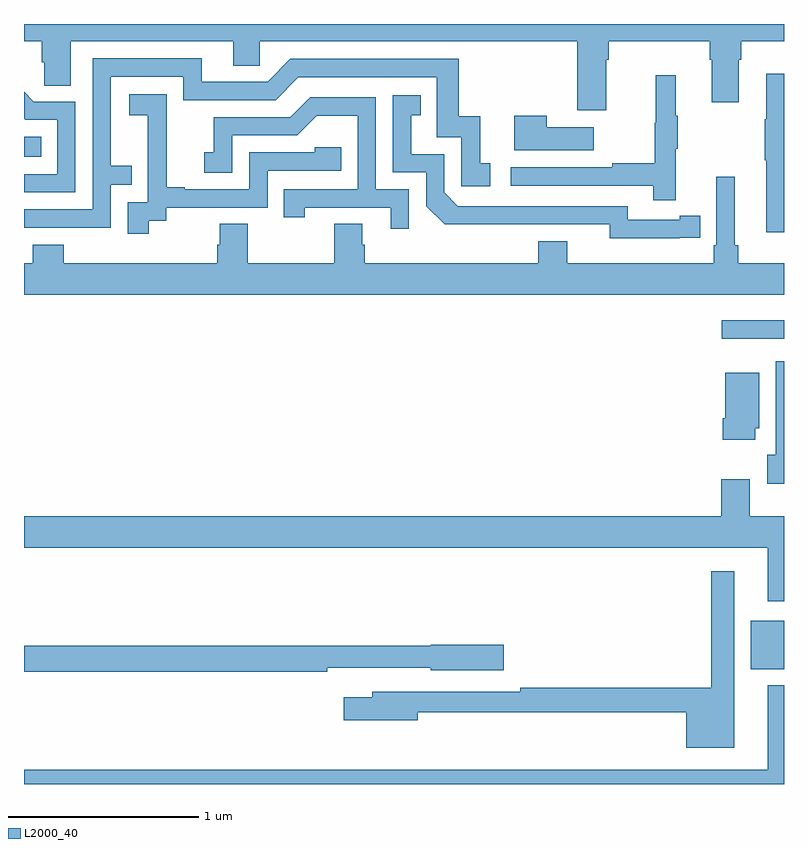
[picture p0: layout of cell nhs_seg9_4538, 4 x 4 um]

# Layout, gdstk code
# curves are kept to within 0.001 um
import gdstk
lib = gdstk.Library(unit=1e-6, precision=1e-09)
def R(c, l, rs):  # rectangles x0, y0, x1, y1
    for r in rs: c.add(gdstk.rectangle(r[:2], r[2:], *l))
def P(c, l, *ps):  # polygons
    for p in ps: c.add(gdstk.Polygon(p, *l))
L2000_40 = (2000, 40)

nhs_seg9_4538 = lib.new_cell('nhs_seg9_4538')
R(nhs_seg9_4538, L2000_40, [(374.825,1205.105,375,1205.359), (374.673,1206.843,375,1206.94), (371,1207.802,371.09,1207.906)])
P(nhs_seg9_4538, L2000_40, [(371,1208.408),(371.093,1208.408),(371.093,1208.299),(371.106,1208.299),(371.106,1208.176),(371.245,1208.176),(371.245,1208.408),(372.101,1208.408),(372.101,1208.281),(372.24,1208.281),(372.24,1208.408),(373.913,1208.408),(373.913,1208.046),(374.065,1208.046),(374.065,1208.312),(374.078,1208.312),(374.078,1208.408),(374.609,1208.408),(374.609,1208.312),(374.621,1208.312),(374.621,1208.088),(374.761,1208.088),(374.761,1208.312),(374.774,1208.312),(374.774,1208.408),(375,1208.408),(375,1208.5),(371,1208.5)],
  [(371.457,1207.653),(371.567,1207.653),(371.567,1207.754),(371.457,1207.754),(371.457,1208.223),(371.838,1208.223),(371.838,1208.1),(372.324,1208.1),(372.444,1208.22),(373.173,1208.22),(373.173,1207.905),(373.302,1207.905),(373.302,1207.647),(373.453,1207.647),(373.453,1207.767),(373.4,1207.767),(373.4,1208.014),(373.289,1208.014),(373.289,1208.316),(372.402,1208.316),(372.282,1208.196),(371.935,1208.196),(371.935,1208.319),(371.361,1208.319),(371.361,1207.524),(371,1207.524),(371,1207.428),(371.457,1207.428)],
  [(375,1208.239),(374.906,1208.239),(374.906,1208),(374.899,1208),(374.899,1207.783),(374.906,1207.783),(374.906,1207.404),(375,1207.404)],
  [(374.429,1207.843),(374.44,1207.843),(374.44,1208.017),(374.429,1208.017),(374.429,1208.23),(374.326,1208.23),(374.326,1207.98),(374.319,1207.98),(374.319,1207.766),(374.095,1207.766),(374.095,1207.746),(373.563,1207.746),(373.563,1207.65),(374.311,1207.65),(374.311,1207.572),(374.429,1207.572)],
  [(371.271,1208.091),(371.052,1208.091),(371,1208.143),(371,1208.001),(371.006,1207.995),(371.175,1207.995),(371.175,1207.71),(371,1207.71),(371,1207.614),(371.271,1207.614)],
  [(371.656,1207.465),(371.748,1207.465),(371.748,1207.533),(372.282,1207.533),(372.282,1207.728),(372.671,1207.728),(372.671,1207.851),(372.531,1207.851),(372.531,1207.824),(372.186,1207.824),(372.186,1207.629),(371.845,1207.629),(371.845,1207.642),(371.75,1207.642),(371.75,1207.925),(371.751,1207.925),(371.751,1208.131),(371.553,1208.131),(371.553,1208.021),(371.651,1208.021),(371.651,1207.793),(371.652,1207.793),(371.652,1207.563),(371.547,1207.563),(371.547,1207.395),(371.656,1207.395)],
  [(374.45,1207.374),(374.558,1207.374),(374.558,1207.49),(374.45,1207.49),(374.45,1207.47),(374.178,1207.47),(374.178,1207.542),(373.284,1207.542),(373.212,1207.614),(373.212,1207.815),(373.039,1207.815),(373.039,1208.019),(373.088,1208.019),(373.088,1208.125),(372.942,1208.125),(372.942,1207.719),(373.116,1207.719),(373.116,1207.542),(373.214,1207.445),(374.082,1207.446),(374.082,1207.373)],
  [(373.026,1207.629),(372.852,1207.629),(372.852,1208.115),(372.506,1208.115),(372.401,1208.01),(371.998,1208.01),(371.998,1207.825),(371.949,1207.825),(371.949,1207.716),(372.096,1207.716),(372.096,1207.914),(372.438,1207.914),(372.542,1208.018),(372.756,1208.018),(372.756,1207.629),(372.367,1207.629),(372.367,1207.482),(372.478,1207.482),(372.478,1207.533),(372.929,1207.533),(372.929,1207.422),(373.026,1207.422)],
  [(373.999,1207.957),(373.751,1207.957),(373.751,1208.017),(373.58,1208.017),(373.58,1207.835),(373.999,1207.835)],
  [(375,1207.24),(374.759,1207.24),(374.759,1207.336),(374.74,1207.336),(374.74,1207.696),(374.643,1207.696),(374.643,1207.336),(374.63,1207.336),(374.63,1207.24),(373.858,1207.24),(373.858,1207.357),(373.706,1207.357),(373.706,1207.24),(372.794,1207.24),(372.794,1207.338),(372.781,1207.338),(372.781,1207.448),(372.634,1207.448),(372.634,1207.24),(372.177,1207.24),(372.177,1207.448),(372.029,1207.448),(372.029,1207.338),(372.017,1207.338),(372.017,1207.24),(371.21,1207.24),(371.21,1207.339),(371.045,1207.339),(371.045,1207.24),(371,1207.24),(371,1207.076),(375,1207.076)],
  [(375,1206.724),(374.957,1206.724),(374.957,1206.234),(374.912,1206.234),(374.912,1206.08),(375,1206.08)],
  [(374.848,1206.372),(374.869,1206.372),(374.869,1206.664),(374.69,1206.664),(374.69,1206.424),(374.678,1206.424),(374.678,1206.312),(374.848,1206.312)],
  [(374.821,1206.103),(374.669,1206.103),(374.669,1205.908),(371,1205.908),(371,1205.744),(374.915,1205.744),(374.915,1205.463),(375,1205.463),(375,1205.908),(374.821,1205.908)],
  [(374.737,1205.62),(374.616,1205.62),(374.616,1205.006),(373.612,1205.006),(373.612,1204.986),(372.833,1204.986),(372.833,1204.957),(372.684,1204.957),(372.684,1204.835),(373.072,1204.835),(373.072,1204.878),(374.486,1204.878),(374.486,1204.691),(374.737,1204.691)],
  [(372.596,1205.112),(373.14,1205.112),(373.14,1205.099),(373.525,1205.099),(373.525,1205.234),(373.14,1205.234),(373.14,1205.228),(371,1205.228),(371,1205.092),(372.596,1205.092)],
  [(375,1205.02),(374.915,1205.02),(374.915,1204.576),(371,1204.576),(371,1204.5),(375,1204.5)])

lib.write_gds('nhs_seg9_4538.gds')
